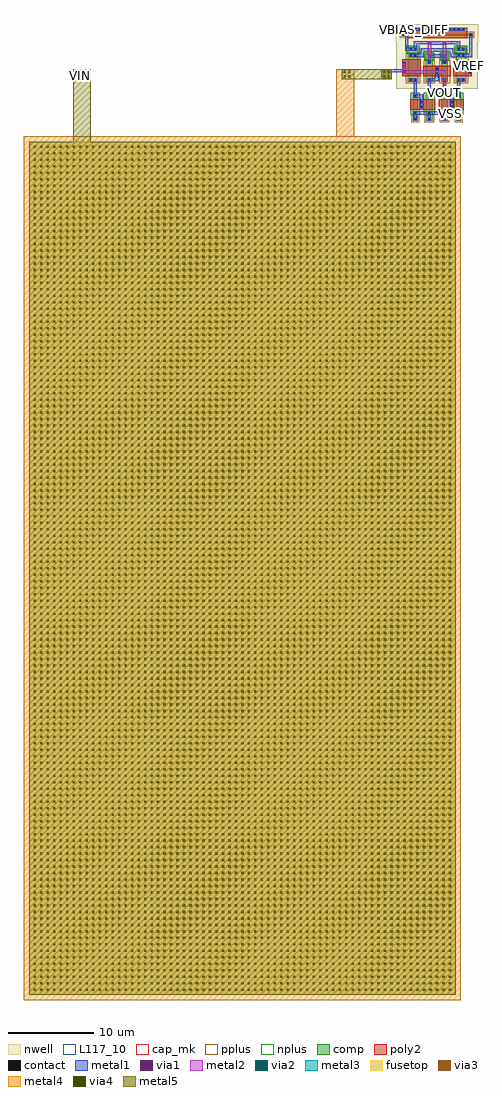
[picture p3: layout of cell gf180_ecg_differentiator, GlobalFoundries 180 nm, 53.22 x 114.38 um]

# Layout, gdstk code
from math import pi, radians
import gdstk
lib = gdstk.Library(unit=1e-6, precision=1e-09)
def R(c, l, rs):  # rectangles x0, y0, x1, y1
    for r in rs: c.add(gdstk.rectangle(r[:2], r[2:], *l))
def A(c, l, x, y, w, h, nx, ny, dx, dy):  # array of equal rectangles
    R(c, l, [(x+i*dx, y+j*dy, x+i*dx+w, y+j*dy+h) for i in range(nx) for j in range(ny)])
def P(c, l, *ps):  # polygons
    for p in ps: c.add(gdstk.Polygon(p, *l))
nwell = (21, 0)
comp = (22, 0)
poly2 = (30, 0)
pplus = (31, 0)
nplus = (32, 0)
contact = (33, 0)
metal1 = (34, 0)
via1 = (35, 0)
metal2 = (36, 0)
via2 = (38, 0)
via3 = (40, 0)
via4 = (41, 0)
metal3 = (42, 0)
metal4 = (46, 0)
fusetop = (75, 0)
metal5 = (81, 0)
cap_mk = (117, 5)
L117_10 = (117, 10)

pfet_2_2_1 = lib.new_cell('pfet$2$2$1')
R(pfet_2_2_1, nwell, [(-1.32,-0.99,3.63,2.17)])
R(pfet_2_2_1, comp, [(-0.46,0,2.77,0.8)])
R(pfet_2_2_1, poly2, [(0.19,-0.3,1.39,1.48)])
R(pfet_2_2_1, pplus, [(-0.63,-0.24,2.04,1.04)])
R(pfet_2_2_1, nplus, [(2.04,-0.17,2.94,0.97)])
R(pfet_2_2_1, contact, [(-0.34,0.29,-0.12,0.51), (1.7,0.29,1.92,0.51), (2.43,0.29,2.65,0.51), (0.425,1.18,0.645,1.4), (0.935,1.18,1.155,1.4)])
R(pfet_2_2_1, metal1, [(-0.42,0.21,-0.04,0.59), (1.62,0.21,2,0.59), (2.35,0.21,2.73,0.59), (0.345,1.1,1.235,1.48)])

nfet_2_2_1 = lib.new_cell('nfet$2$2$1')
R(nfet_2_2_1, comp, [(-0.42,0,2.71,0.8)])
R(nfet_2_2_1, poly2, [(0.19,-0.66,1.39,1.1)])
R(nfet_2_2_1, pplus, [(2,-0.17,2.88,0.97)])
R(nfet_2_2_1, nplus, [(-0.59,-0.24,2,1.04)])
R(nfet_2_2_1, contact, [(0.425,-0.59,0.645,-0.37), (0.935,-0.59,1.155,-0.37), (-0.32,0.29,-0.1,0.51), (1.68,0.29,1.9,0.51), (2.39,0.29,2.61,0.51)])
R(nfet_2_2_1, metal1, [(0.345,-0.67,1.235,-0.29), (-0.4,0.21,-0.02,0.59), (1.6,0.21,1.98,0.59), (2.31,0.21,2.69,0.59)])

nfet_4_1 = lib.new_cell('nfet$4$1')
R(nfet_4_1, comp, [(-0.42,0,2.71,0.6)])
R(nfet_4_1, poly2, [(0.19,-0.3,1.39,1.26)])
R(nfet_4_1, pplus, [(2,-0.17,2.88,0.77)])
R(nfet_4_1, nplus, [(-0.59,-0.24,2,0.84)])
R(nfet_4_1, contact, [(-0.32,0.19,-0.1,0.41), (1.68,0.19,1.9,0.41), (2.39,0.19,2.61,0.41), (0.425,0.97,0.645,1.19), (0.935,0.97,1.155,1.19)])
R(nfet_4_1, metal1, [(-0.4,0.11,-0.02,0.49), (1.6,0.11,1.98,0.49), (2.31,0.11,2.69,0.49), (0.345,0.89,1.235,1.27)])

pfet_6_1 = lib.new_cell('pfet$6$1')
R(pfet_6_1, nwell, [(-1.32,-0.99,4.43,2.57)])
R(pfet_6_1, comp, [(-0.46,0,3.57,1.2)])
R(pfet_6_1, poly2, [(0.19,-0.3,2.19,1.88)])
R(pfet_6_1, pplus, [(-0.63,-0.24,2.84,1.44)])
R(pfet_6_1, nplus, [(2.84,-0.17,3.74,1.37)])
A(pfet_6_1, contact, 0.57, 1.58, 0.22, 0.22, 3, 1, 0.51, 0)
R(pfet_6_1, contact, [(-0.34,0.235,-0.12,0.455), (2.5,0.235,2.72,0.455), (3.23,0.235,3.45,0.455), (-0.34,0.745,-0.12,0.965), (2.5,0.745,2.72,0.965), (3.23,0.745,3.45,0.965)])
R(pfet_6_1, metal1, [(-0.42,0.155,-0.04,1.045), (2.42,0.155,2.8,1.045), (3.15,0.155,3.53,1.045), (0.49,1.5,1.89,1.88)])

pfet_4_1_1 = lib.new_cell('pfet$4$1$1')
R(pfet_4_1_1, nwell, [(-1.07,-0.74,8.55,1.37)])
P(pfet_4_1_1, comp, [(-0.46,-0.065),(-0.46,0.315),(0,0.315),(0,0.25),(7.48,0.25),(7.48,0.315),(7.94,0.315),(7.94,-0.065),(7.48,-0.065),(7.48,0),(0,0),(0,-0.065)])
R(pfet_4_1_1, poly2, [(0.19,-0.3,7.29,0.93)])
R(pfet_4_1_1, pplus, [(-0.63,-0.24,8.11,0.49)])
A(pfet_4_1_1, contact, 0.57, 0.63, 0.22, 0.22, 13, 1, 0.51, 0)
R(pfet_4_1_1, contact, [(-0.34,0.015,-0.12,0.235), (7.6,0.015,7.82,0.235)])
R(pfet_4_1_1, metal1, [(-0.42,-0.065,-0.04,0.315), (7.52,-0.065,7.9,0.315), (0.49,0.55,6.99,0.93)])

via_dev_4 = lib.new_cell('via_dev$4')
R(via_dev_4, metal1, [(0,0,0.4,0.4)])
R(via_dev_4, via1, [(0.07,0.07,0.33,0.33)])
R(via_dev_4, metal2, [(0,0,0.4,0.4)])

gf180_9t_differentiator = lib.new_cell('gf180_9T_differentiator')
R(gf180_9t_differentiator, nwell, [(5.325,4.79,7.755,5.345)])
R(gf180_9t_differentiator, metal1, [(3.8,-3.49,4.18,-3.16), (5.46,-3.49,5.84,-3.16), (7.24,-3.49,7.62,-3.16), (8.9,-3.49,9.28,-3.16), (5.46,3.16,5.84,3.51), (7.24,3.16,7.62,3.51)])
gf180_9t_differentiator.add(gdstk.FlexPath([(10.515,6.21),(10.515,3.77),(8.26,3.77),(8.26,4.4),(4.825,4.4),(4.825,3.77),(3.99,3.77)], 0.38, ends="flush", simple_path=True, layer=34, datatype=0))  # metal1
gf180_9t_differentiator.add(gdstk.FlexPath([(3.01,4.5),(3.01,6.275)], 0.38, ends="flush", simple_path=True, layer=34, datatype=0))  # metal1
gf180_9t_differentiator.add(gdstk.FlexPath([(2.575,6.21),(3.2,6.21)], 0.38, ends="flush", simple_path=True, layer=34, datatype=0))  # metal1
gf180_9t_differentiator.add(gdstk.FlexPath([(3.48,4.5),(2.82,4.5)], 0.38, ends="flush", simple_path=True, layer=34, datatype=0))  # metal1
gf180_9t_differentiator.add(gdstk.FlexPath([(9.09,4.5),(9.09,5.265),(4.04,5.265)], 0.38, ends="flush", simple_path=True, layer=34, datatype=0))  # metal1
gf180_9t_differentiator.add(gdstk.FlexPath([(3.99,4.5),(3.99,5.455)], 0.38, ends="flush", simple_path=True, layer=34, datatype=0))  # metal1
gf180_9t_differentiator.add(gdstk.FlexPath([(3.99,-0.97),(3.99,0.93)], 0.38, ends="flush", simple_path=True, layer=34, datatype=0))  # metal1
gf180_9t_differentiator.add(gdstk.FlexPath([(4.77,-1.715),(4.77,-0.97),(3.99,-0.97)], 0.38, ends="flush", simple_path=True, layer=34, datatype=0))  # metal1
gf180_9t_differentiator.add(gdstk.FlexPath([(5.65,-0.97),(5.65,0.931)], 0.38, ends="flush", simple_path=True, layer=34, datatype=0))  # metal1
gf180_9t_differentiator.add(gdstk.FlexPath([(6.54,1.695),(6.54,0.93),(5.65,0.93)], 0.38, ends="flush", simple_path=True, layer=34, datatype=0))  # metal1
gf180_9t_differentiator.add(gdstk.FlexPath([(9.09,-0.97),(9.09,0.93)], 0.38, ends="flush", simple_path=True, layer=34, datatype=0))  # metal1
gf180_9t_differentiator.add(gdstk.FlexPath([(8.31,-1.715),(8.31,-0.97),(9.09,-0.97)], 0.38, ends="flush", simple_path=True, layer=34, datatype=0))  # metal1
gf180_9t_differentiator.add(gdstk.FlexPath([(7.43,-0.97),(7.43,0.931)], 0.38, ends="flush", simple_path=True, layer=34, datatype=0))  # metal1
gf180_9t_differentiator.add(gdstk.FlexPath([(7.421,3.69),(5.632,3.69)], 0.4, ends="flush", simple_path=True, layer=34, datatype=0))  # metal1
gf180_9t_differentiator.add(gdstk.FlexPath([(5.664,5.245),(7.421,5.245)], 0.4, ends="flush", simple_path=True, layer=34, datatype=0))  # metal1
gf180_9t_differentiator.add(gdstk.FlexPath([(3.99,-2.97),(9.09,-2.97)], 0.38, ends="flush", simple_path=True, layer=34, datatype=0))  # metal1
gf180_9t_differentiator.add(gdstk.FlexPath([(5.66,5.249),(5.66,3.65)], 0.4, ends="flush", simple_path=True, layer=36, datatype=0))  # metal2
gf180_9t_differentiator.add(gdstk.FlexPath([(7.42,5.249),(7.42,3.69)], 0.4, ends="flush", simple_path=True, layer=36, datatype=0))  # metal2
gf180_9t_differentiator.add(gdstk.Reference(pfet_2_2_1, (5.25,1.16), rotation=pi/2, x_reflection=True))
gf180_9t_differentiator.add(gdstk.Reference(nfet_2_2_1, (5.25,-1.18), rotation=3*pi/2))
gf180_9t_differentiator.add(gdstk.Reference(nfet_4_1, (3.69,-1.18), rotation=3*pi/2))
gf180_9t_differentiator.add(gdstk.Reference(pfet_2_2_1, (7.83,1.16), rotation=pi/2))
gf180_9t_differentiator.add(gdstk.Reference(nfet_2_2_1, (7.83,-1.18), rotation=3*pi/2, x_reflection=True))
gf180_9t_differentiator.add(gdstk.Reference(pfet_6_1, (8.745,1.16), rotation=pi/2, x_reflection=True))
gf180_9t_differentiator.add(gdstk.Reference(nfet_4_1, (9.39,-1.18), rotation=3*pi/2, x_reflection=True))
gf180_9t_differentiator.add(gdstk.Reference(pfet_4_1_1, (10.285,6.085), rotation=pi, x_reflection=True))
gf180_9t_differentiator.add(gdstk.Reference(via_dev_4, (5.46,3.49)))
gf180_9t_differentiator.add(gdstk.Reference(via_dev_4, (7.22,3.49)))
gf180_9t_differentiator.add(gdstk.Reference(via_dev_4, (5.46,5.045)))
gf180_9t_differentiator.add(gdstk.Reference(via_dev_4, (7.22,5.045)))
gf180_9t_differentiator.add(gdstk.Reference(pfet_6_1, (4.335,1.16), rotation=pi/2))
gf180_9t_differentiator.add(gdstk.Label('VBIAS', (6.25,6.775), layer=34, texttype=10))
gf180_9t_differentiator.add(gdstk.Label('VINP', (2.568,2.06), layer=34, texttype=10))
gf180_9t_differentiator.add(gdstk.Label('VINN', (10.342,2.09), layer=34, texttype=10))
gf180_9t_differentiator.add(gdstk.Label('VOUT', (7.359,-0.412), layer=34, texttype=10))
gf180_9t_differentiator.add(gdstk.Label('VDD', (3,6.45), layer=34, texttype=10))
gf180_9t_differentiator.add(gdstk.Label('VSS', (5.615,-3.39), layer=34, texttype=10))

via_dev_38 = lib.new_cell('via_dev$38')
R(via_dev_38, metal1, [(0,0,0.4,1.2)])
R(via_dev_38, via1, [(0.07,0.205,0.33,0.465), (0.07,0.735,0.33,0.995)])
R(via_dev_38, metal2, [(0,0,0.4,1.2)])

cap_mim_4 = lib.new_cell('cap_mim$4')
A(cap_mim_4, via4, 0.55, 0.47, 0.26, 0.26, 65, 131, 0.76, 0.76)
R(cap_mim_4, metal4, [(-0.6,-0.6,50.6,100.6)])
R(cap_mim_4, fusetop, [(0,0,50,100)])
R(cap_mim_4, metal5, [(0,0,50,100)])
R(cap_mim_4, cap_mk, [(-0.6,-0.6,50.6,100.6)])
R(cap_mim_4, L117_10, [(0,0,50,0.1)])

via_dev_7_2 = lib.new_cell('via_dev$7$2')
R(via_dev_7_2, via4, [(0.205,0.205,0.465,0.465), (0.735,0.205,0.995,0.465), (0.205,0.735,0.465,0.995), (0.735,0.735,0.995,0.995)])
R(via_dev_7_2, metal4, [(0,0,1.2,1.2)])
R(via_dev_7_2, metal5, [(0,0,1.2,1.2)])

via_dev_2_4 = lib.new_cell('via_dev$2$4')
R(via_dev_2_4, metal1, [(0,0,1.2,1.2)])
R(via_dev_2_4, via1, [(0.205,0.205,0.465,0.465), (0.735,0.205,0.995,0.465), (0.205,0.735,0.465,0.995), (0.735,0.735,0.995,0.995)])
R(via_dev_2_4, metal2, [(0,0,1.2,1.2)])
R(via_dev_2_4, via2, [(0.205,0.205,0.465,0.465), (0.735,0.205,0.995,0.465), (0.205,0.735,0.465,0.995), (0.735,0.735,0.995,0.995)])
R(via_dev_2_4, via3, [(0.205,0.205,0.465,0.465), (0.735,0.205,0.995,0.465), (0.205,0.735,0.465,0.995), (0.735,0.735,0.995,0.995)])
R(via_dev_2_4, via4, [(0.205,0.205,0.465,0.465), (0.735,0.205,0.995,0.465), (0.205,0.735,0.465,0.995), (0.735,0.735,0.995,0.995)])
R(via_dev_2_4, metal3, [(0,0,1.2,1.2)])
R(via_dev_2_4, metal4, [(0,0,1.2,1.2)])
R(via_dev_2_4, metal5, [(0,0,1.2,1.2)])

gf180_ecg_differentiator = lib.new_cell('gf180_ecg_differentiator')
R(gf180_ecg_differentiator, metal4, [(-1.79,-5.725,0.285,2.175)])
R(gf180_ecg_differentiator, metal5, [(-32.635,-8.315,-30.56,2.175), (-0.545,0.975,4.09,2.175)])
gf180_ecg_differentiator.add(gdstk.FlexPath([(6.115,1.985),(3.655,1.985)], 0.38, ends="flush", simple_path=True, layer=34, datatype=0))  # metal1
gf180_ecg_differentiator.add(gdstk.FlexPath([(6.115,1.85),(10.9,1.85),(10.9,0.955)], 0.4, ends="flush", simple_path=True, layer=36, datatype=0))  # metal2
gf180_ecg_differentiator.add(gdstk.Reference(gf180_9t_differentiator, (3.46,0)))
gf180_ecg_differentiator.add(gdstk.Reference(via_dev_38, (10.7,-0.08)))
gf180_ecg_differentiator.add(gdstk.Reference(via_dev_38, (5.915,1.65)))
gf180_ecg_differentiator.add(gdstk.Reference(cap_mim_4, (-37.8,-106.325)))
gf180_ecg_differentiator.add(gdstk.Reference(via_dev_7_2, (-1.145,0.975)))
gf180_ecg_differentiator.add(gdstk.Reference(via_dev_2_4, (3.49,0.975)))
gf180_ecg_differentiator.add(gdstk.Label('VBIAS_DIFF', (7.336,6.786), layer=34, texttype=10))
gf180_ecg_differentiator.add(gdstk.Label('VSS', (11.565,-3.02), layer=34, texttype=10))
gf180_ecg_differentiator.add(gdstk.Label('VOUT', (10.848,-0.577), layer=34, texttype=10))
gf180_ecg_differentiator.add(gdstk.Label('VDD', (8.17,5.265), layer=34, texttype=10))
gf180_ecg_differentiator.add(gdstk.Label('VREF', (13.87,2.58), layer=34, texttype=10))
gf180_ecg_differentiator.add(gdstk.Label('VIN', (-31.735,1.44), layer=81, texttype=10))

lib.write_gds('gf180_ecg_differentiator.gds')
